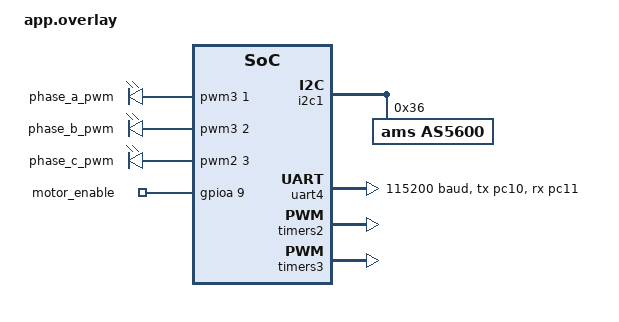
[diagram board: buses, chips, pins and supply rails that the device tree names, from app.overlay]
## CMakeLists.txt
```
cmake_minimum_required(VERSION 3.20.0)

find_package(Zephyr REQUIRED HINTS $ENV{ZEPHYR_BASE})
project(open-loop)

target_sources(app PRIVATE src/main.c)
```

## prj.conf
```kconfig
CONFIG_GPIO=y
CONFIG_I2C=y
CONFIG_SENSOR=y
CONFIG_AMS_AS5600=y
CONFIG_SERIAL=y
CONFIG_PWM=y
```

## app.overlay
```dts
#include <zephyr/dt-bindings/i2c/i2c.h>
#include <zephyr/dt-bindings/pwm/pwm.h>
#include <zephyr/dt-bindings/gpio/gpio.h>

/*
Function	Arduino pin	Nucleo GPIO	STM32 peripheral
Phase A PWM	D9	PC7	TIM3_CH2 / TIM8_CH2
Phase B PWM	D5	PB4	TIM3_CH1
Phase C PWM	D6	PB10	TIM2_CH3
Driver enable	D8	PA9	GPIO output
Phase A current	A0	PA0	ADC1/2 IN1
Phase B current	A2	PA4	ADC2 IN17
*/

/ {
    aliases {
        position-sensor = &as5600;
        motor-report = &uart4;

        phase-a-pwm = &phase_a_pwm;
        phase-b-pwm = &phase_b_pwm;
        phase-c-pwm = &phase_c_pwm;
        motor-enable = &motor_enable;
    };

    pwm_outputs {
	   	compatible = "pwm-leds";
	    phase_a_pwm: phase_a {
	        pwms = <&pwm3 1 PWM_HZ(20000) PWM_POLARITY_NORMAL>;
	    };
	
	    phase_b_pwm: phase_b {
	        pwms = <&pwm3 2 PWM_HZ(20000) PWM_POLARITY_NORMAL>;
	    };
	
	    phase_c_pwm: phase_c {
	        pwms = <&pwm2 3 PWM_HZ(20000) PWM_POLARITY_NORMAL>;
	    };
    };

    motor_outputs {
        compatible = "gpio-leds";
    
        motor_enable: enable {
            gpios = <&gpioa 9 GPIO_ACTIVE_HIGH>;
        };
    };
};

&i2c1 {
    status = "okay";

    as5600: as5600@36 {
        compatible = "ams,as5600";
        reg = <0x36>;
        status = "okay";
    };
};

&uart4 {
    pinctrl-0 = <&uart4_tx_pc10 &uart4_rx_pc11>;
    pinctrl-names = "default";
    current-speed = <115200>;
    status = "okay";
};

&timers2 {
    status = "okay";

    pwm2: pwm {
        status = "okay";
        pinctrl-0 = <&tim2_ch3_pb10>;
        pinctrl-names = "default";
    };
};

&timers3 {
    status = "okay";
    
    st,prescaler = <0>;
    pwm3: pwm {
        status = "okay";
        pinctrl-0 = <&tim3_ch1_pb4 &tim3_ch2_pc7>;
        pinctrl-names = "default";
    };
};
```

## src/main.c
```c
#include "zephyr/sys/printk.h"
#include <stdio.h>
#include <sys/errno.h>
#include <zephyr/kernel.h>
#include <zephyr/device.h>
#include <zephyr/devicetree.h>
#include <zephyr/drivers/gpio.h>
#include <zephyr/drivers/uart.h>
#include <zephyr/drivers/sensor.h>
#include <zephyr/drivers/pwm.h>

#include <math.h>

#define LED0_NODE DT_ALIAS(led0)
#define REPORTING_CONSOLE_NODE DT_ALIAS(motor_report)
#define MOTOR_POS_NODE DT_ALIAS(position_sensor)
#define PWM_PHASE_A_NODE DT_ALIAS(phase_a_pwm)
#define PWM_PHASE_B_NODE DT_ALIAS(phase_b_pwm)
#define PWM_PHASE_C_NODE DT_ALIAS(phase_c_pwm)
#define MOTOR_ENABLE_NODE DT_ALIAS(motor_enable)

static const struct gpio_dt_spec led = GPIO_DT_SPEC_GET(LED0_NODE, gpios);
static const struct device *reporting_console = DEVICE_DT_GET(REPORTING_CONSOLE_NODE);
static const struct device *motor_pos_sensor = DEVICE_DT_GET(MOTOR_POS_NODE);
static const struct pwm_dt_spec pwm_phase_a = PWM_DT_SPEC_GET(PWM_PHASE_A_NODE);
static const struct pwm_dt_spec pwm_phase_b = PWM_DT_SPEC_GET(PWM_PHASE_B_NODE);
static const struct pwm_dt_spec pwm_phase_c = PWM_DT_SPEC_GET(PWM_PHASE_C_NODE);
static const struct gpio_dt_spec motor_enable = GPIO_DT_SPEC_GET(MOTOR_ENABLE_NODE, gpios);

// ---- Thread Stuff -------------------

static struct k_thread reporting_thread_data;
K_THREAD_STACK_DEFINE(reporting_thread_stack, 1028);

static struct k_thread motor_control_thread_data;
K_THREAD_STACK_DEFINE(motor_control_thread_stack, 1028);

// ---- Stuff about math and things -----
#define PI 3.14159265358979323846f //cause we are poor and math.h charges per import
#define TWO_PI (2.0f * (float)PI)

#define PWM_UPDATE_HZ 1000
#define ELECTRICAL_FREQUENCY_HZ 1

#define PWM_FREQUENCY_HZ 20000
#define PWM_PERIOD_NS 50000

#define PHASE_120_DEGREES (TWO_PI / 3.0f)
#define PHASE_240_DEGREES ((2.0f * TWO_PI) / 3.0f)

float theta = 0.0f;

float duty_max = 25.0f;
float desired_electrical_frequency_hz = 150.0f;

float frequency_acceleration_hz = 0.01f;

float duty_a;
float duty_b;
float duty_c;

int report_counter = 0;


void send_report(const char *msg){
    while(*msg != '\0'){
        uart_poll_out(reporting_console, *msg);
        msg++;
    }
}

void update_pwms(void){
    static float electrical_frequency_hz = 0;

    duty_a = 50 + duty_max * sinf(theta);
    duty_b = 50 + duty_max * sinf(theta + PHASE_120_DEGREES);
    duty_c = 50 + duty_max * sinf(theta + PHASE_240_DEGREES);

    uint32_t pulse_a = (uint32_t)(PWM_PERIOD_NS * duty_a / 100.0f);
    uint32_t pulse_b = (uint32_t)(PWM_PERIOD_NS * duty_b / 100.0f);
    uint32_t pulse_c = (uint32_t)(PWM_PERIOD_NS * duty_c / 100.0f);



    // set the PWM to the new duty
    pwm_set_pulse_dt(&pwm_phase_a, pulse_a);
    pwm_set_pulse_dt(&pwm_phase_b, pulse_b);
    pwm_set_pulse_dt(&pwm_phase_c, pulse_c);

    theta += TWO_PI * ( electrical_frequency_hz / (float)PWM_UPDATE_HZ );

    if (electrical_frequency_hz < desired_electrical_frequency_hz){
        electrical_frequency_hz += frequency_acceleration_hz;
    }

    // something about a circle only being 360 degrees
    if (theta > TWO_PI){
        theta -= TWO_PI;
    }
}

// void blink_thread(void){
//     int ret;
//     if (!gpio_is_ready_dt(&led)) {
//         return 0;
//     }

//     ret = gpio_pin_configure_dt(&led, GPIO_OUTPUT_INACTIVE);
//     if (ret < 0) {
//         return 0;
//     }

//     while(1){
//         gpio_pin_toggle_dt(&led);
//         k_sleep(K_MSEC(500));
//     }
// }

int motor_init(void){
    if (!pwm_is_ready_dt(&pwm_phase_a) ||
        !pwm_is_ready_dt(&pwm_phase_b) ||
        !pwm_is_ready_dt(&pwm_phase_c)) {
        printk("PWM device not ready\n");
        return -EIO;
    }

    if (!gpio_is_ready_dt(&motor_enable)) {
        printk("Motor enable GPIO not ready\n");
        return -EIO;
    }

    int ret = gpio_pin_configure_dt(&motor_enable, GPIO_OUTPUT_INACTIVE);

    if (ret < 0) {
        printk("Motor enable configuration failed: %d\n", ret);
        return -EIO;
    }

    return 0;
}

void reporting_thread(void *p1, void *p2, void *p3){
    // here report angle and currents (no PWM setting yet since I dont wanna handle thread safe sharing PWM stuff)
    ARG_UNUSED(p1);
    ARG_UNUSED(p2);
    ARG_UNUSED(p3);

    struct sensor_value angle;
    char report_buff[512];

    while (1) {
        int ret = sensor_sample_fetch(motor_pos_sensor);

        if (ret < 0){
            printk("Failed to fetch sensor data %d\n", ret);
        }
        else{
            ret = sensor_channel_get(motor_pos_sensor, SENSOR_CHAN_ROTATION, &angle);


            if(ret < 0){
                printk("Error getting the channel %d\n", ret);
            }
            else{
                snprintk(report_buff, sizeof(report_buff), "angle: %d.%06d degrees\r\n", angle.val1, angle.val2);
                send_report(report_buff);
            }

        }
        k_sleep(K_MSEC(100));
    }
}

void motor_control_thread(void *p1, void *p2, void *p3){
    // here we update the motor itself
    ARG_UNUSED(p1);
    ARG_UNUSED(p2);
    ARG_UNUSED(p3);

    // init the PWM and set the motor enable to high

    //start all PWM at 50%
    pwm_set_dt(&pwm_phase_a, PWM_PERIOD_NS, 0);
    pwm_set_dt(&pwm_phase_b, PWM_PERIOD_NS, 0);
    pwm_set_dt(&pwm_phase_c, PWM_PERIOD_NS, 0);

    gpio_pin_set_dt(&motor_enable, 1);

    while(1){
        update_pwms();
        k_sleep(K_MSEC(1));
    }

}

int main(void)
{
    int ret;

    if(!device_is_ready(reporting_console)){
        printk("UART4 is not ready\n");
        return 0;
    }

    if (!device_is_ready(motor_pos_sensor)){
        printk("Motor Position Sensor is not ready\n");
        return 0;
    }

    char buff[128];
ret = motor_init();

    if (ret < 0){
        printk("Error initializing motor stuff\n");
        return 0;
    }

    printk("AS5600 isreporting_thread_data ready\n");
    printk("Motor is ready\n");

    k_thread_create(&reporting_thread_data, reporting_thread_stack, K_THREAD_STACK_SIZEOF(reporting_thread_stack), reporting_thread, NULL, NULL, NULL, 5, 0, K_NO_WAIT);
    k_thread_create(&motor_control_thread_data, motor_control_thread_stack, K_THREAD_STACK_SIZEOF(motor_control_thread_stack), motor_control_thread, NULL, NULL, NULL, 7, 0, K_NO_WAIT);


    return 0;
}
```
